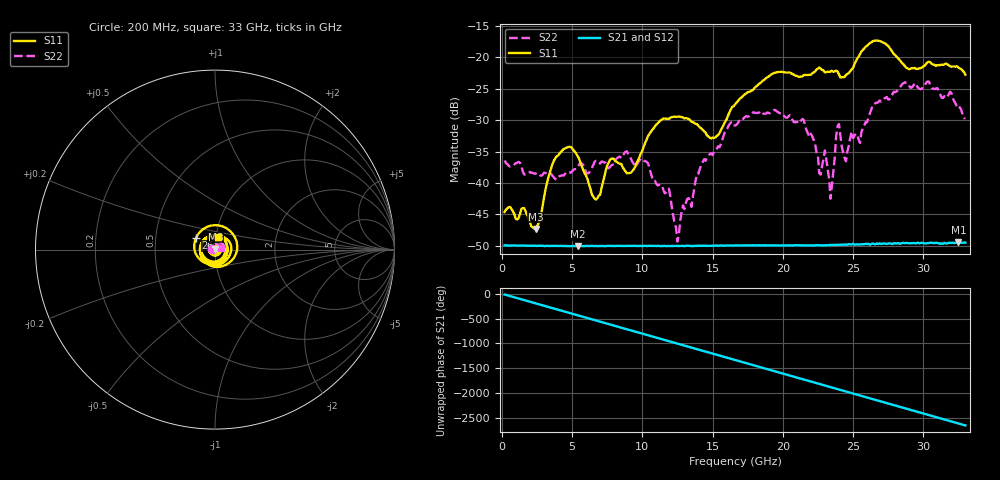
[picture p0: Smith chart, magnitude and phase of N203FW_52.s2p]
# GHZ S RI R 50
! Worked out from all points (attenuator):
!   329 points, 200 MHz to 33 GHz, reference 50 ohm
!   highest |S21| = -49.48 dB at 32.5 GHz (marker M1); lowest = -50.1 dB at 5.4 GHz (marker M2)
!   lowest |S11| = -47.3 dB at 2.4 GHz (marker M3), VSWR 1.01, Z = 50.2 + j0.354 ohm
!   |S11| at or under -10 dB: start of sweep to end of sweep
!   |S22| runs from -49.4 to -23.8 dB; largest |S21 - S12| = 8.7e-05
!   S11 on the Smith chart (normalised r, x): 200 MHz: 1.01, +0.00; 26 GHz: 0.80, +0.11; 33 GHz: 1.03, +0.15
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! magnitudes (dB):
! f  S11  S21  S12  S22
! 200 MHz  -44.6  -50.0  -49.9  -36.4
! 2.4 GHz  -47.3  -50.0  -50.0  -38.5
! 3.8 GHz  -36.1  -50.1  -50.0  -39.3
! 5.4 GHz  -35.7  -50.1  -50.0  -37.6
! 5.7 GHz  -37.4  -50.1  -50.0  -36.9
! 6.7 GHz  -42.7  -50.0  -50.0  -36.5
! 7.7 GHz  -36.3  -50.0  -50.0  -37.5
! 11.2 GHz  -30.3  -50.1  -50.0  -40.3
! 11.9 GHz  -29.8  -50.1  -50.0  -40.9
! 12.5 GHz  -29.5  -50.1  -50.1  -49.4
! 15.1 GHz  -32.8  -50.0  -50.0  -35.1
! 16.6 GHz  -27.5  -49.9  -50.0  -30.9
! 22.1 GHz  -22.5  -50.0  -49.9  -32.6
! 22.6 GHz  -21.6  -49.9  -49.9  -38.5
! 23 GHz  -22.4  -50.0  -49.9  -34.8
! 23.4 GHz  -22.3  -49.9  -49.9  -42.5
! 23.9 GHz  -22.3  -49.9  -49.9  -31.0
! 24.5 GHz  -22.8  -49.8  -49.8  -36.6
! 26 GHz  -18.2  -49.8  -49.7  -30.3
! 27.6 GHz  -18.5  -49.6  -49.6  -26.7
! 32.5 GHz  -21.6  -49.5  -49.5  -27.6
! 33 GHz  -22.7  -49.5  -49.6  -29.7
